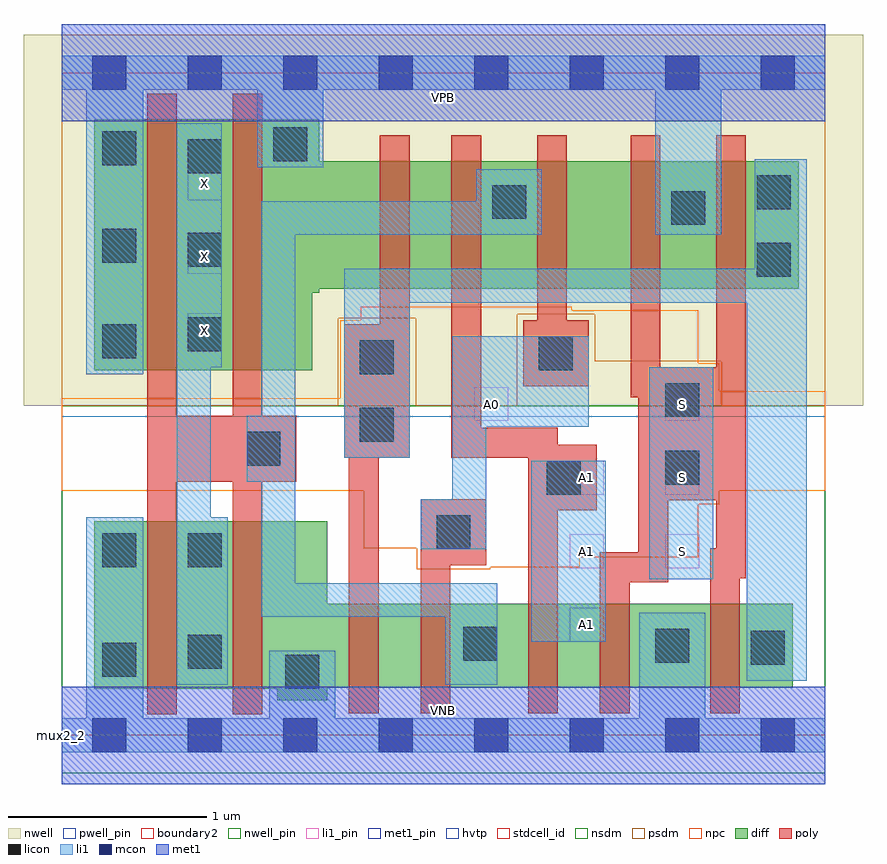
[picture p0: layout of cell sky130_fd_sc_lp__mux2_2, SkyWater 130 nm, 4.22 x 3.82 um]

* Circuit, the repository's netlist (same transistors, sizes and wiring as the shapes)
* Copyright 2020 The SkyWater PDK Authors
*
* Licensed under the Apache License, Version 2.0 (the "License");
* you may not use this file except in compliance with the License.
* You may obtain a copy of the License at
*
*     https://www.apache.org/licenses/LICENSE-2.0
*
* Unless required by applicable law or agreed to in writing, software
* distributed under the License is distributed on an "AS IS" BASIS,
* WITHOUT WARRANTIES OR CONDITIONS OF ANY KIND, either express or implied.
* See the License for the specific language governing permissions and
* limitations under the License.
*
* SPDX-License-Identifier: Apache-2.0

.SUBCKT sky130_fd_sc_lp__mux2_2 A0 A1 S VGND VNB VPB VPWR X
*.PININFO A0:I A1:I S:I VGND:I VNB:I VPB:I VPWR:I X:O
MMNA00 xb A0 smdNA0 VNB sky130_fd_pr__nfet_01v8 m=1 w=0.42U l=0.15U mult=1 sa=0.265
+ sb=0.265 sd=0.28 area=0.063 perim=1.14
MMNA01 smdNA0 Sb VGND VNB sky130_fd_pr__nfet_01v8 m=1 w=0.42U l=0.15U mult=1 sa=0.265
+ sb=0.265 sd=0.28 area=0.063 perim=1.14
MMNA10 xb A1 sndNA1 VNB sky130_fd_pr__nfet_01v8 m=1 w=0.42U l=0.15U mult=1 sa=0.265
+ sb=0.265 sd=0.28 area=0.063 perim=1.14
MMNA11 sndNA1 S VGND VNB sky130_fd_pr__nfet_01v8 m=1 w=0.42U l=0.15U mult=1 sa=0.265
+ sb=0.265 sd=0.28 area=0.063 perim=1.14
MMIN1 Sb S VGND VNB sky130_fd_pr__nfet_01v8 m=1 w=0.42U l=0.15U mult=1 sa=0.265
+ sb=0.265 sd=0.28 area=0.063 perim=1.14
MMIN2 X xb VGND VNB sky130_fd_pr__nfet_01v8 m=2 w=0.84U l=0.15U mult=1 sa=0.265
+ sb=0.265 sd=0.28 area=0.063 perim=1.14
MMPA00 VPWR S sndPS VPB sky130_fd_pr__pfet_01v8_hvt m=1 w=0.64U l=0.15U mult=1
+ sa=0.265 sb=0.265 sd=0.28 area=0.063 perim=1.14
MMPA01 sndPS A0 xb VPB sky130_fd_pr__pfet_01v8_hvt m=1 w=0.64U l=0.15U mult=1 sa=0.265
+ sb=0.265 sd=0.28 area=0.063 perim=1.14
MMPA10 VPWR Sb sndPSb VPB sky130_fd_pr__pfet_01v8_hvt m=1 w=0.64U l=0.15U mult=1
+ sa=0.265 sb=0.265 sd=0.28 area=0.063 perim=1.14
MMPA11 sndPSb A1 xb VPB sky130_fd_pr__pfet_01v8_hvt m=1 w=0.64U l=0.15U mult=1
+ sa=0.265 sb=0.265 sd=0.28 area=0.063 perim=1.14
MMIP1 Sb S VPWR VPB sky130_fd_pr__pfet_01v8_hvt m=1 w=0.64U l=0.15U mult=1 sa=0.265
+ sb=0.265 sd=0.28 area=0.063 perim=1.14
MMIP2 X xb VPWR VPB sky130_fd_pr__pfet_01v8_hvt m=2 w=1.26U l=0.15U mult=1 sa=0.265
+ sb=0.265 sd=0.28 area=0.063 perim=1.14
.ENDS sky130_fd_sc_lp__mux2_2

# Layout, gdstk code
import gdstk
lib = gdstk.Library(unit=1e-6, precision=1e-09)
def R(c, l, rs):  # rectangles x0, y0, x1, y1
    for r in rs: c.add(gdstk.rectangle(r[:2], r[2:], *l))
def A(c, l, x, y, w, h, nx, ny, dx, dy):  # array of equal rectangles
    R(c, l, [(x+i*dx, y+j*dy, x+i*dx+w, y+j*dy+h) for i in range(nx) for j in range(ny)])
def P(c, l, *ps):  # polygons
    for p in ps: c.add(gdstk.Polygon(p, *l))
nwell_pin = (64, 16)
nwell = (64, 20)
diff = (65, 20)
poly = (66, 20)
licon = (66, 44)
li1_pin = (67, 16)
li1 = (67, 20)
mcon = (67, 44)
met1_pin = (68, 16)
met1 = (68, 20)
hvtp = (78, 44)
stdcell_id = (81, 4)
nsdm = (93, 44)
psdm = (94, 20)
npc = (95, 20)
pwell_pin = (122, 16)
boundary2 = (236, 0)

sky130_fd_sc_lp__mux2_2 = lib.new_cell('sky130_fd_sc_lp__mux2_2')
R(sky130_fd_sc_lp__mux2_2, nwell_pin, [(0,3.085,3.84,3.33)])
R(sky130_fd_sc_lp__mux2_2, nwell, [(-0.19,1.655,4.03,3.52)])
P(sky130_fd_sc_lp__mux2_2, diff, [(3.675,0.66),(1.335,0.66),(1.335,1.075),(0.165,1.075),(0.165,0.235),(1.085,0.235),(1.085,0.175),(1.335,0.175),(1.335,0.24),(3.675,0.24)],
  [(3.705,2.885),(1.295,2.885),(1.295,3.095),(0.165,3.095),(0.165,1.835),(1.26,1.835),(1.26,2.225),(1.295,2.225),(1.295,2.245),(3.705,2.245)])
P(sky130_fd_sc_lp__mux2_2, poly, [(1.18,1.605),(1.01,1.605),(1.01,3.225),(0.86,3.225),(0.86,1.605),(0.58,1.605),(0.58,3.225),(0.43,3.225),(0.43,0.105),(0.58,0.105),(0.58,1.275),(0.86,1.275),(0.86,0.105),(1.01,0.105),(1.01,1.275),(1.18,1.275)],
  [(1.75,3.015),(1.6,3.015),(1.6,2.065),(1.42,2.065),(1.42,1.395),(1.445,1.395),(1.445,0.11),(1.595,0.11),(1.595,1.395),(1.75,1.395)],
  [(2.135,1.185),(1.805,1.185),(1.805,0.11),(1.955,0.11),(1.955,0.855),(2.135,0.855)],
  [(2.65,2.085),(2.54,2.085),(2.54,3.015),(2.39,3.015),(2.39,2.085),(2.32,2.085),(2.32,1.755),(2.65,1.755)],
  [(2.69,1.46),(2.495,1.46),(2.495,1.545),(2.11,1.545),(2.11,3.015),(1.96,3.015),(1.96,1.395),(2.345,1.395),(2.345,0.11),(2.495,0.11),(2.495,1.13),(2.69,1.13)],
  [(3.44,3.015),(3.29,3.015),(3.29,1.85),(3.01,1.85),(3.01,3.015),(2.86,3.015),(2.86,1.7),(2.9,1.7),(2.9,0.92),(2.705,0.92),(2.705,0.11),(2.855,0.11),(2.855,0.77),(3.05,0.77),(3.05,1.18),(3.29,1.18),(3.29,0.94),(3.26,0.94),(3.26,0.11),(3.41,0.11),(3.41,0.79),(3.44,0.79)])
R(sky130_fd_sc_lp__mux2_2, licon, [(1.125,0.235,1.295,0.405), (0.205,0.295,0.375,0.465), (0.635,0.335,0.805,0.505), (3.465,0.355,3.635,0.525), (2.985,0.365,3.155,0.535), (2.02,0.375,2.19,0.545), (0.205,0.845,0.375,1.015), (0.635,0.845,0.805,1.015), (1.885,0.935,2.055,1.105), (2.44,1.21,2.61,1.38), (3.035,1.26,3.205,1.43), (0.93,1.355,1.1,1.525), (1.5,1.475,1.67,1.645), (3.035,1.6,3.205,1.77), (1.5,1.815,1.67,1.985), (2.4,1.835,2.57,2.005), (0.205,1.895,0.375,2.065), (0.635,1.93,0.805,2.1), (3.495,2.305,3.665,2.475), (0.635,2.355,0.805,2.525), (0.205,2.375,0.375,2.545), (3.065,2.565,3.235,2.735), (2.165,2.595,2.335,2.765), (3.495,2.645,3.665,2.815), (0.635,2.825,0.805,2.995), (0.205,2.865,0.375,3.035), (1.065,2.885,1.235,3.055)])
A(sky130_fd_sc_lp__mux2_2, li1_pin, 2.555, 0.47, 0.17, 0.17, 1, 3, 0, 0.37)
A(sky130_fd_sc_lp__mux2_2, li1_pin, 3.035, 0.84, 0.17, 0.17, 1, 3, 0, 0.37)
A(sky130_fd_sc_lp__mux2_2, li1_pin, 0.635, 1.95, 0.17, 0.17, 1, 3, 0, 0.37)
R(sky130_fd_sc_lp__mux2_2, li1_pin, [(2.075,1.58,2.245,1.75)])
R(sky130_fd_sc_lp__mux2_2, li1, [(2.36,0.47,2.735,1.38), (2.955,0.785,3.275,1.85)])
P(sky130_fd_sc_lp__mux2_2, li1, [(0.985,2.855),(0.985,3.245),(0.41,3.245),(0.41,1.815),(0.125,1.815),(0.125,3.245),(0,3.245),(0,3.415),(3.84,3.415),(3.84,3.245),(3.315,3.245),(3.315,2.515),(2.985,2.515),(2.985,3.245),(1.315,3.245),(1.315,2.855)],
  [(1.045,0.085),(1.045,0.425),(1.375,0.425),(1.375,0.085),(2.905,0.085),(2.905,0.615),(3.235,0.615),(3.235,0.085),(3.84,0.085),(3.84,-0.085),(0,-0.085),(0,0.085),(0.125,0.085),(0.125,1.095),(0.41,1.095),(0.41,0.085)],
  [(0.58,3.075),(0.805,3.075),(0.805,1.85),(0.75,1.85),(0.75,1.095),(0.835,1.095),(0.835,0.255),(0.58,0.255)],
  [(1.965,2.005),(2.65,2.005),(2.65,1.55),(2.135,1.55),(2.135,0.935),(1.805,0.935),(1.805,1.185),(1.965,1.185)],
  [(1.005,0.595),(1.005,1.275),(0.93,1.275),(0.93,1.605),(1.005,1.605),(1.005,2.685),(2.085,2.685),(2.085,2.845),(2.415,2.845),(2.415,2.515),(1.175,2.515),(1.175,0.765),(2.19,0.765),(2.19,0.255),(1.93,0.255),(1.93,0.595)],
  [(3.745,0.275),(3.445,0.275),(3.445,2.175),(1.75,2.175),(1.75,1.395),(1.42,1.395),(1.42,2.345),(3.485,2.345),(3.485,2.895),(3.745,2.895)])
A(sky130_fd_sc_lp__mux2_2, mcon, 0.155, -0.085, 0.17, 0.17, 8, 2, 0.48, 3.33)
R(sky130_fd_sc_lp__mux2_2, met1_pin, [(0,0,3.84,0.245), (0,3.085,3.84,3.33)])
R(sky130_fd_sc_lp__mux2_2, met1, [(0,-0.245,3.84,0.245), (0,3.085,3.84,3.575)])
R(sky130_fd_sc_lp__mux2_2, hvtp, [(0,1.6,3.84,3.33)])
R(sky130_fd_sc_lp__mux2_2, stdcell_id, [(0,0,3.84,3.33)])
R(sky130_fd_sc_lp__mux2_2, nsdm, [(0,-0.19,3.84,1.655)])
P(sky130_fd_sc_lp__mux2_2, psdm, [(3.84,3.52),(0,3.52),(0,1.655),(1.39,1.655),(1.39,2.095),(1.78,2.095),(1.78,1.655),(2.29,1.655),(2.29,2.115),(2.68,2.115),(2.68,1.88),(3.315,1.88),(3.315,1.655),(3.84,1.655)])
P(sky130_fd_sc_lp__mux2_2, npc, [(3.84,1.73),(3.305,1.73),(3.305,1.87),(3.2,1.87),(3.2,2.135),(2.565,2.135),(2.565,2.155),(1.505,2.155),(1.505,2.085),(1.4,2.085),(1.4,1.695),(0,1.695),(0,1.23),(1.52,1.23),(1.52,0.94),(1.785,0.94),(1.785,0.835),(2.155,0.835),(2.155,0.845),(2.605,0.845),(2.605,0.895),(3.2,0.895),(3.2,1.16),(3.305,1.16),(3.305,1.23),(3.84,1.23)])
R(sky130_fd_sc_lp__mux2_2, pwell_pin, [(0,0,3.84,0.245)])
R(sky130_fd_sc_lp__mux2_2, boundary2, [(0,0,3.84,3.33)])
sky130_fd_sc_lp__mux2_2.add(gdstk.Label('VNB', (1.92,0.123), layer=64, texttype=59))
sky130_fd_sc_lp__mux2_2.add(gdstk.Label('VPB', (1.92,3.208), layer=64, texttype=5))
sky130_fd_sc_lp__mux2_2.add(gdstk.Label('mux2_2', (0,0), layer=83, texttype=44))
sky130_fd_sc_lp__mux2_2.add(gdstk.Label('VPWR', (1.92,3.208), layer=68, texttype=5))
sky130_fd_sc_lp__mux2_2.add(gdstk.Label('VGND', (1.92,0.123), layer=68, texttype=5))
sky130_fd_sc_lp__mux2_2.add(gdstk.Label('X', (0.72,2.035), layer=67, texttype=5))
sky130_fd_sc_lp__mux2_2.add(gdstk.Label('X', (0.72,2.405), layer=67, texttype=5))
sky130_fd_sc_lp__mux2_2.add(gdstk.Label('X', (0.72,2.775), layer=67, texttype=5))
sky130_fd_sc_lp__mux2_2.add(gdstk.Label('S', (3.12,0.925), layer=67, texttype=5))
sky130_fd_sc_lp__mux2_2.add(gdstk.Label('S', (3.12,1.295), layer=67, texttype=5))
sky130_fd_sc_lp__mux2_2.add(gdstk.Label('S', (3.12,1.665), layer=67, texttype=5))
sky130_fd_sc_lp__mux2_2.add(gdstk.Label('A0', (2.16,1.665), layer=67, texttype=5))
sky130_fd_sc_lp__mux2_2.add(gdstk.Label('A1', (2.64,0.555), layer=67, texttype=5))
sky130_fd_sc_lp__mux2_2.add(gdstk.Label('A1', (2.64,0.925), layer=67, texttype=5))
sky130_fd_sc_lp__mux2_2.add(gdstk.Label('A1', (2.64,1.295), layer=67, texttype=5))

lib.write_gds('sky130_fd_sc_lp__mux2_2.gds')
